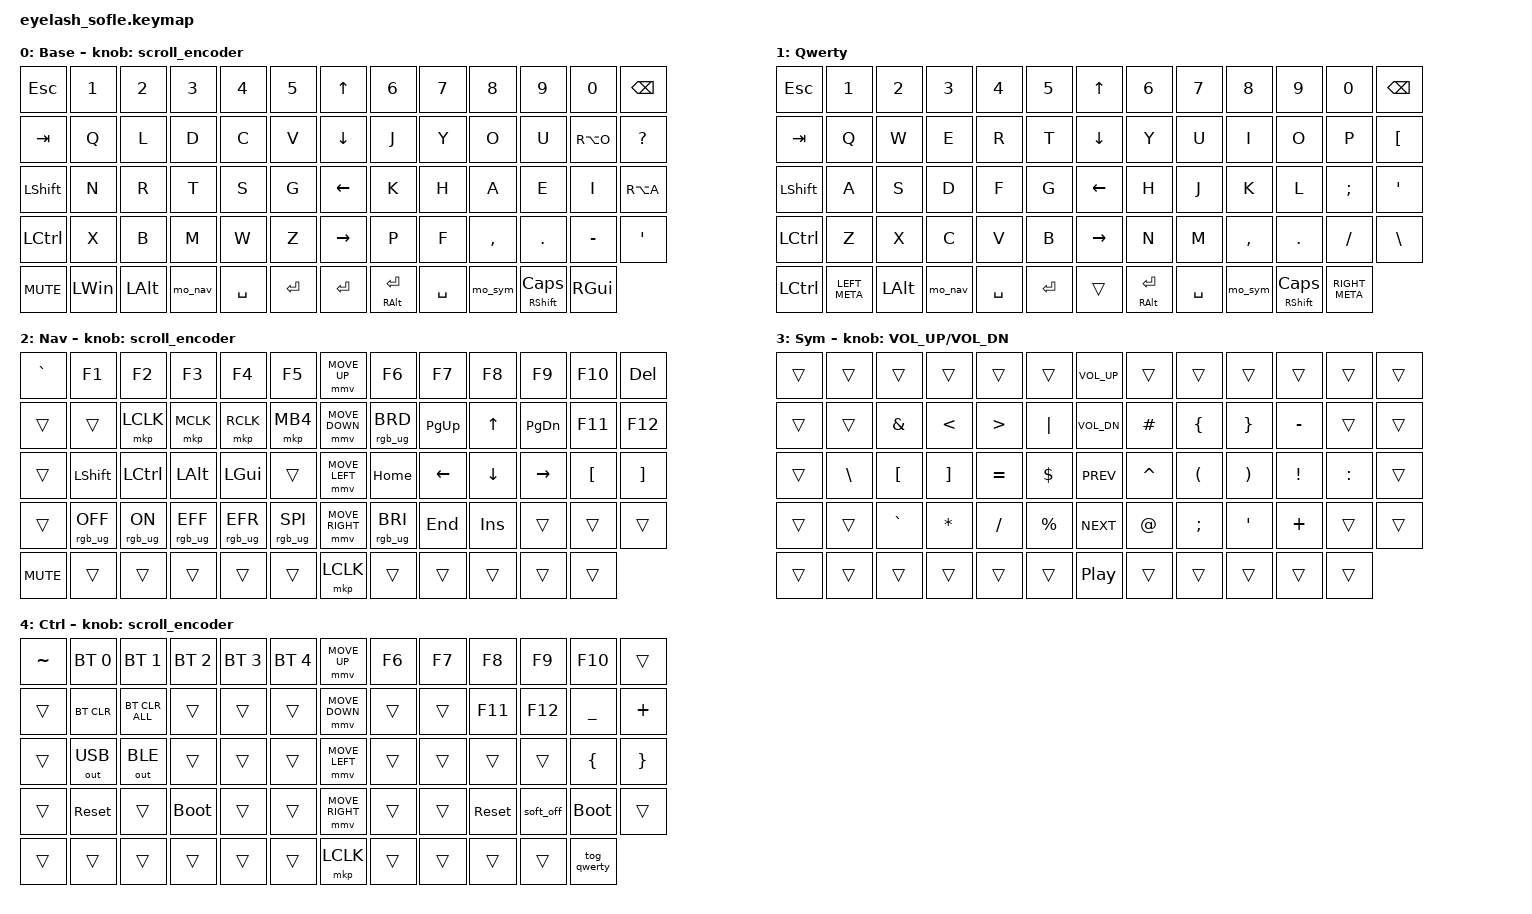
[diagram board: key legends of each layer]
#define ZMK_POINTING_DEFAULT_MOVE_VAL 1200  // 600
#define ZMK_POINTING_DEFAULT_SCRL_VAL 25   // 10

#include <input/processors.dtsi>
#include <zephyr/dt-bindings/input/input-event-codes.h>
#include <behaviors.dtsi>
#include <dt-bindings/zmk/bt.h>
#include <dt-bindings/zmk/keys.h>
#include <dt-bindings/zmk/outputs.h>
#include <dt-bindings/zmk/pointing.h>
#include <dt-bindings/zmk/rgb.h>

/ {
    zip_scroll_scaler: zip_scroll_scaler {
        compatible = "zmk,input-processor-scaler";
        #input-processor-cells = <2>;
        type = <INPUT_EV_REL>;
        codes = <INPUT_REL_WHEEL INPUT_REL_HWHEEL>;
        track-remainders;
    };
};

&mmv_input_listener { input-processors = <&zip_xy_scaler 2 1>; };

&msc_input_listener { input-processors = <&zip_scroll_scaler 2 1>; };

&msc {
    acceleration-exponent = <1>;      // 0
    time-to-max-speed-ms = <100>;       // 300
    delay-ms = <0>;                   // 0
};

&mmv {
    time-to-max-speed-ms = <500>;
    acceleration-exponent = <1>;
    trigger-period-ms = <16>;
};

&soft_off { hold-time-ms = <2000>; };

/ {
    scroll_encoder: scroll_encoder {
        compatible = "zmk,behavior-sensor-rotate";
        #sensor-binding-cells = <0>;
        bindings = <&msc SCRL_DOWN>, <&msc SCRL_UP>;

        tap-ms = <100>;
    };

    behaviors {
    };

    // Layer signals for the gatorkeys overlay: the host can't see ZMK layers, so
    // these also hold/tap F13-F15, which gatorkeys-inputd swallows before the OS.
    macros {
        mo_nav: mo_nav {
            compatible = "zmk,behavior-macro";
            #binding-cells = <0>;
            wait-ms = <0>;
            tap-ms = <0>;
            bindings
                = <&macro_press &mo 2 &kp F13>
                , <&macro_pause_for_release>
                , <&macro_release &mo 2 &kp F13>
                ;
        };

        mo_sym: mo_sym {
            compatible = "zmk,behavior-macro";
            #binding-cells = <0>;
            wait-ms = <0>;
            tap-ms = <0>;
            bindings
                = <&macro_press &mo 3 &kp F14>
                , <&macro_pause_for_release>
                , <&macro_release &mo 3 &kp F14>
                ;
        };

        tog_qwerty: tog_qwerty {
            compatible = "zmk,behavior-macro";
            #binding-cells = <0>;
            bindings = <&macro_tap &tog 1 &kp F15>;
        };
    };

    combos {
        compatible = "zmk,combos";

        softoff {
            bindings = <&soft_off>;
            key-positions = <14 28 40>;
        };
    };

    keymap {
        compatible = "zmk,keymap";

        layer0 {
            bindings = <
&kp ESC           &kp N1        &kp N2        &kp N3  &kp N4     &kp N5     &kp UP_ARROW     &kp N6             &kp N7     &kp N8     &kp N9                    &kp N0         &kp BACKSPACE
&kp TAB           &kp Q         &kp L         &kp D   &kp C      &kp V      &kp DOWN_ARROW   &kp J              &kp Y      &kp O      &kp U                     &kp RA(O)      &kp QUESTION
&kp LEFT_SHIFT    &kp N         &kp R         &kp T   &kp S      &kp G      &kp LEFT_ARROW   &kp K              &kp H      &kp A      &kp E                     &kp I          &kp RA(A)
&kp LEFT_CONTROL  &kp X         &kp B         &kp M   &kp W      &kp Z      &kp RIGHT_ARROW  &kp P              &kp F      &kp COMMA  &kp DOT                   &kp MINUS      &kp APOSTROPHE
&kp C_MUTE        &kp LEFT_WIN  &kp LEFT_ALT  &mo_nav &kp SPACE  &kp RET    &kp ENTER        &mt RIGHT_ALT RET  &kp SPACE  &mo_sym    &mt RIGHT_SHIFT CAPSLOCK  &kp RIGHT_GUI
            >;

            sensor-bindings = <&scroll_encoder>;
            display-name = "Base";
        };

        Qwerty {
            bindings = <
&kp ESC           &kp N1         &kp N2        &kp N3  &kp N4     &kp N5        &kp UP_ARROW     &kp N6               &kp N7     &kp N8     &kp N9                    &kp N0          &kp BSPC
&kp TAB           &kp Q          &kp W         &kp E   &kp R      &kp T         &kp DOWN_ARROW   &kp Y                &kp U      &kp I      &kp O                     &kp P           &kp LBKT
&kp LSHFT         &kp A          &kp S         &kp D   &kp F      &kp G         &kp LEFT_ARROW   &kp H                &kp J      &kp K      &kp L                     &kp SEMI        &kp APOS
&kp LEFT_CONTROL  &kp Z          &kp X         &kp C   &kp V      &kp B         &kp RIGHT_ARROW  &kp N                &kp M      &kp COMMA  &kp DOT                   &kp FSLH        &kp BSLH
&kp LCTRL         &kp LEFT_META  &kp LEFT_ALT  &mo_nav &kp SPACE  &kp RETURN    &trans           &mt RIGHT_ALT ENTER  &kp SPACE  &mo_sym    &mt RIGHT_SHIFT CAPSLOCK  &kp RIGHT_META
            >;

            display-name = "Qwerty";
            label = "Qwerty";
        };

        nav_layer {
            bindings = <
&kp GRAVE   &kp F1           &kp F2            &kp F3           &kp F4           &kp F5             &mmv MOVE_UP     &kp F6           &kp F7           &kp F8      &kp F9     &kp F10           &kp DELETE
&trans      &trans           &mkp LCLK         &mkp MCLK        &mkp RCLK        &mkp MB4           &mmv MOVE_DOWN   &rgb_ug RGB_BRD  &kp PG_UP        &kp UP      &kp PG_DN  &kp F11           &kp F12
&trans      &kp LEFT_SHIFT   &kp LEFT_CONTROL  &kp LEFT_ALT     &kp LEFT_GUI     &trans             &mmv MOVE_LEFT   &kp HOME         &kp LEFT         &kp DOWN    &kp RIGHT  &kp LEFT_BRACKET  &kp RIGHT_BRACKET
&trans      &rgb_ug RGB_OFF  &rgb_ug RGB_ON    &rgb_ug RGB_EFF  &rgb_ug RGB_EFR  &rgb_ug RGB_SPI    &mmv MOVE_RIGHT  &rgb_ug RGB_BRI  &kp END          &kp INSERT  &trans     &trans            &trans
&kp C_MUTE  &trans           &trans            &trans           &trans           &trans             &mkp LCLK        &trans           &trans           &trans      &trans     &trans
            >;

            display-name = "Nav";
            sensor-bindings = <&scroll_encoder>;
            label = "Navigation";
        };

        sym_layer {
            bindings = <
&trans  &trans         &trans            &trans             &trans            &trans       &kp C_VOL_UP  &trans     &trans                &trans                 &trans     &trans     &trans
&trans  &trans         &kp AMPS          &kp LESS_THAN      &kp GREATER_THAN  &kp PIPE     &kp C_VOL_DN  &kp POUND  &kp LEFT_BRACE        &kp RIGHT_BRACE        &kp MINUS  &trans     &trans
&trans  &kp BACKSLASH  &kp LEFT_BRACKET  &kp RIGHT_BRACKET  &kp EQUAL         &kp DOLLAR   &kp C_PREV    &kp CARET  &kp LEFT_PARENTHESIS  &kp RIGHT_PARENTHESIS  &kp EXCL   &kp COLON  &trans
&trans  &trans         &kp GRAVE         &kp ASTERISK       &kp SLASH         &kp PERCENT  &kp C_NEXT    &kp AT     &kp SEMICOLON         &kp SINGLE_QUOTE       &kp PLUS   &trans     &trans
&trans  &trans         &trans            &trans             &trans            &trans       &kp C_PP      &trans     &trans                &trans                 &trans     &trans
            >;

            display-name = "Sym";
            label = "Symbols";
            sensor-bindings = <&inc_dec_kp C_VOL_UP C_VOL_DN>;
        };

        ctrl_layer {
            bindings = <
&kp TILDE  &bt BT_SEL 0  &bt BT_SEL 1    &bt BT_SEL 2  &bt BT_SEL 3  &bt BT_SEL 4    &mmv MOVE_UP     &kp F6  &kp F7  &kp F8      &kp F9     &kp F10      &trans
&trans     &bt BT_CLR    &bt BT_CLR_ALL  &trans        &trans        &trans          &mmv MOVE_DOWN   &trans  &trans  &kp F11     &kp F12    &kp UNDER    &kp PLUS
&trans     &out OUT_USB  &out OUT_BLE    &trans        &trans        &trans          &mmv MOVE_LEFT   &trans  &trans  &trans      &trans     &kp LBRC     &kp RBRC
&trans     &sys_reset    &trans          &bootloader   &trans        &trans          &mmv MOVE_RIGHT  &trans  &trans  &sys_reset  &soft_off  &bootloader  &trans
&trans     &trans        &trans          &trans        &trans        &trans          &mkp LCLK        &trans  &trans  &trans      &trans     &tog_qwerty
            >;

            display-name = "Ctrl";
            sensor-bindings = <&scroll_encoder>;
            label = "Control";
        };
    };

    conditional_layers {
        compatible = "zmk,conditional-layers";

        conditional_ctrl_layer {
            if-layers = <2 3>;
            then-layer = <4>;
        };
    };
};
